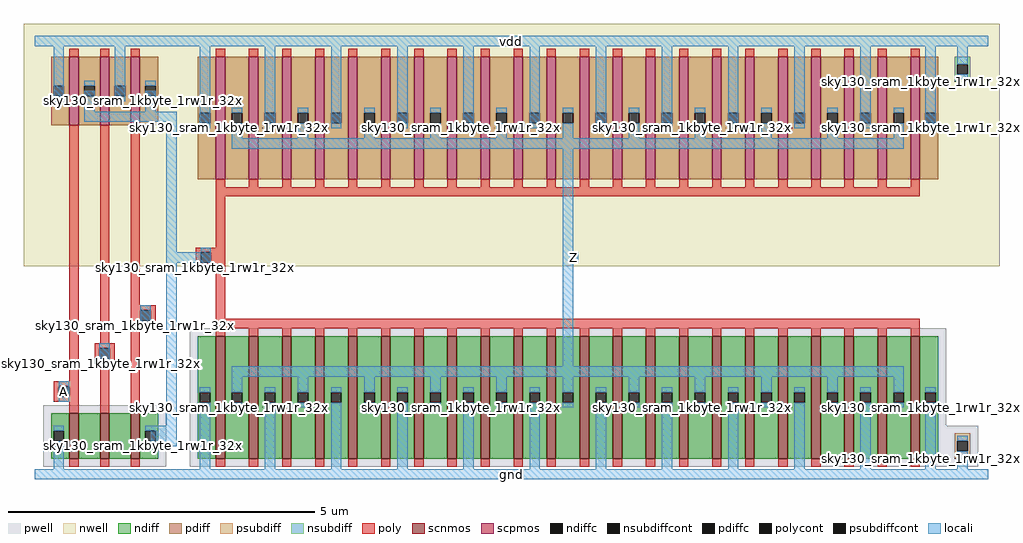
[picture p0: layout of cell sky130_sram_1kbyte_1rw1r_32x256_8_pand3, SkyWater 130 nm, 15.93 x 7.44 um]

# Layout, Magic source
magic
tech sky130A
magscale 1 2
<< locali >>
rect 0 1397 3114 1431
rect 430 724 464 1167
rect 430 690 559 724
rect 1741 690 1775 724
rect 345 485 379 551
rect 212 361 246 427
rect 79 237 113 303
rect 0 -17 3114 17
use sky130_sram_1kbyte_1rw1r_32x256_8_pdriver_3  sky130_sram_1kbyte_1rw1r_32x256_8_pdriver_3_0
transform 1 0 478 0 1 0
box -36 -17 2672 1471
use sky130_sram_1kbyte_1rw1r_32x256_8_pnand3  sky130_sram_1kbyte_1rw1r_32x256_8_pnand3_0
transform 1 0 0 0 1 0
box -36 -17 514 1471
<< labels >>
rlabel locali s 1758 707 1758 707 4 Z
port 1 nsew
rlabel locali s 96 270 96 270 4 A
port 2 nsew
rlabel locali s 229 394 229 394 4 B
port 3 nsew
rlabel locali s 362 518 362 518 4 C
port 4 nsew
rlabel locali s 1557 0 1557 0 4 gnd
port 5 nsew
rlabel locali s 1557 1414 1557 1414 4 vdd
port 6 nsew
<< properties >>
string FIXED_BBOX 0 0 3114 1414
string GDS_FILE $PDKPATH/libs.ref/sky130_sram_macros/gds/sky130_sram_1kbyte_1rw1r_32x256_8.gds
string GDS_END 6270182
string GDS_START 6268934
<< end >>

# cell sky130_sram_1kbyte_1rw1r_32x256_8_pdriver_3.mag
magic
tech sky130A
magscale 1 2
<< nwell >>
rect -36 679 2672 1471
<< locali >>
rect 0 1397 2636 1431
rect 64 674 98 740
rect 1263 690 1297 724
rect 0 -17 2636 17
use sky130_sram_1kbyte_1rw1r_32x256_8_pinv_15  sky130_sram_1kbyte_1rw1r_32x256_8_pinv_15_0
transform 1 0 0 0 1 0
box -36 -17 2672 1471
<< labels >>
rlabel locali s 1280 707 1280 707 4 Z
port 1 nsew
rlabel locali s 81 707 81 707 4 A
port 2 nsew
rlabel locali s 1318 0 1318 0 4 gnd
port 3 nsew
rlabel locali s 1318 1414 1318 1414 4 vdd
port 4 nsew
<< properties >>
string FIXED_BBOX 0 0 2636 1414
string GDS_FILE $PDKPATH/libs.ref/sky130_sram_macros/gds/sky130_sram_1kbyte_1rw1r_32x256_8.gds
string GDS_END 358828
string GDS_START 357996
<< end >>

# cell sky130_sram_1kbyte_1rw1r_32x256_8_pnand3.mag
magic
tech sky130A
magscale 1 2
<< nwell >>
rect -36 679 514 1471
<< pwell >>
rect 128 25 330 225
<< scnmos >>
rect 214 51 244 199
<< ndiff >>
rect 154 51 214 199
rect 244 51 304 199
<< poly >>
rect 114 303 144 1113
rect 214 427 244 1113
rect 314 551 344 1113
rect 314 535 395 551
rect 314 501 345 535
rect 379 501 395 535
rect 314 485 395 501
rect 196 411 262 427
rect 196 377 212 411
rect 246 377 262 411
rect 196 361 262 377
rect 63 287 144 303
rect 63 253 79 287
rect 113 253 144 287
rect 63 237 144 253
rect 114 225 144 237
rect 214 199 244 361
rect 314 225 344 485
rect 214 25 244 51
<< polycont >>
rect 345 501 379 535
rect 212 377 246 411
rect 79 253 113 287
<< locali >>
rect 0 1397 478 1431
rect 62 1218 96 1397
rect 162 1184 196 1251
rect 262 1218 296 1397
rect 362 1184 396 1251
rect 162 1150 464 1184
rect 345 535 379 551
rect 345 485 379 501
rect 212 411 246 427
rect 212 361 246 377
rect 79 287 113 303
rect 79 237 113 253
rect 430 158 464 1150
rect 379 92 464 158
rect 62 17 96 92
rect 0 -17 478 17
use sky130_sram_1kbyte_1rw1r_32x256_8_contact_16  sky130_sram_1kbyte_1rw1r_32x256_8_contact_16_0
transform 1 0 329 0 1 485
box 0 0 1 1
use sky130_sram_1kbyte_1rw1r_32x256_8_contact_16  sky130_sram_1kbyte_1rw1r_32x256_8_contact_16_1
transform 1 0 196 0 1 361
box 0 0 1 1
use sky130_sram_1kbyte_1rw1r_32x256_8_contact_16  sky130_sram_1kbyte_1rw1r_32x256_8_contact_16_2
transform 1 0 63 0 1 237
box 0 0 1 1
use sky130_sram_1kbyte_1rw1r_32x256_8_nmos_m1_w0_740_sactive_dli  sky130_sram_1kbyte_1rw1r_32x256_8_nmos_m1_w0_740_sactive_dli_0
transform 1 0 254 0 1 51
box -26 -26 176 174
use sky130_sram_1kbyte_1rw1r_32x256_8_nmos_m1_w0_740_sactive_dactive  sky130_sram_1kbyte_1rw1r_32x256_8_nmos_m1_w0_740_sactive_dactive_0
transform 1 0 154 0 1 51
box 25 74 125 75
use sky130_sram_1kbyte_1rw1r_32x256_8_nmos_m1_w0_740_sli_dactive  sky130_sram_1kbyte_1rw1r_32x256_8_nmos_m1_w0_740_sli_dactive_0
transform 1 0 54 0 1 51
box -26 -26 176 174
use sky130_sram_1kbyte_1rw1r_32x256_8_pmos_m1_w1_120_sli_dli  sky130_sram_1kbyte_1rw1r_32x256_8_pmos_m1_w1_120_sli_dli_0
transform 1 0 254 0 1 1139
box -59 -54 209 278
use sky130_sram_1kbyte_1rw1r_32x256_8_pmos_m1_w1_120_sli_dli  sky130_sram_1kbyte_1rw1r_32x256_8_pmos_m1_w1_120_sli_dli_1
transform 1 0 154 0 1 1139
box -59 -54 209 278
use sky130_sram_1kbyte_1rw1r_32x256_8_pmos_m1_w1_120_sli_dli  sky130_sram_1kbyte_1rw1r_32x256_8_pmos_m1_w1_120_sli_dli_2
transform 1 0 54 0 1 1139
box -59 -54 209 278
<< labels >>
rlabel locali s 96 270 96 270 4 A
port 1 nsew
rlabel locali s 229 394 229 394 4 B
port 2 nsew
rlabel locali s 362 518 362 518 4 C
port 3 nsew
rlabel locali s 447 1167 447 1167 4 Z
port 4 nsew
rlabel locali s 239 0 239 0 4 gnd
port 5 nsew
rlabel locali s 239 1414 239 1414 4 vdd
port 6 nsew
<< properties >>
string FIXED_BBOX 0 0 478 1414
string GDS_FILE $PDKPATH/libs.ref/sky130_sram_macros/gds/sky130_sram_1kbyte_1rw1r_32x256_8.gds
string GDS_END 361910
string GDS_START 358900
<< end >>

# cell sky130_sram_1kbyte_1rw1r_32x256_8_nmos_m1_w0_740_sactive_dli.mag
magic
tech sky130A
magscale 1 2
<< pwell >>
rect -26 -26 176 174
<< scnmos >>
rect 60 0 90 148
<< ndiff >>
rect 0 0 60 148
rect 90 91 150 148
rect 90 57 108 91
rect 142 57 150 91
rect 90 0 150 57
<< ndiffc >>
rect 108 57 142 91
<< poly >>
rect 60 148 90 174
rect 60 -26 90 0
<< locali >>
rect 108 91 142 107
rect 108 41 142 57
use sky130_sram_1kbyte_1rw1r_32x256_8_contact_11  sky130_sram_1kbyte_1rw1r_32x256_8_contact_11_0
transform 1 0 100 0 1 41
box 0 0 1 1
<< labels >>
rlabel locali s 125 74 125 74 4 D
port 1 nsew
rlabel poly s 75 74 75 74 4 G
port 2 nsew
rlabel mvpsubdiff s 25 74 25 74 4 S
<< properties >>
string FIXED_BBOX -25 -26 175 174
string GDS_FILE $PDKPATH/libs.ref/sky130_sram_macros/gds/sky130_sram_1kbyte_1rw1r_32x256_8.gds
string GDS_END 24370
string GDS_START 23648
<< end >>

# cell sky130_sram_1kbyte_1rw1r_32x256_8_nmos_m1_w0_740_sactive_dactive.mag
magic
tech sky130A
magscale 1 2
<< labels >>
rlabel poly s 75 74 75 74 4 G
port 1 nsew
rlabel mvpsubdiff s 25 74 25 74 4 S
rlabel mvpsubdiff s 125 74 125 74 4 D
<< properties >>
string GDS_FILE $PDKPATH/libs.ref/sky130_sram_macros/gds/sky130_sram_1kbyte_1rw1r_32x256_8.gds
string GDS_END 104682
string GDS_START 104034
<< end >>

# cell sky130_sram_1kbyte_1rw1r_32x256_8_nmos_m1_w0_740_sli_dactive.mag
magic
tech sky130A
magscale 1 2
<< pwell >>
rect -26 -26 176 174
<< scnmos >>
rect 60 0 90 148
<< ndiff >>
rect 0 91 60 148
rect 0 57 8 91
rect 42 57 60 91
rect 0 0 60 57
rect 90 0 150 148
<< ndiffc >>
rect 8 57 42 91
<< poly >>
rect 60 148 90 174
rect 60 -26 90 0
<< locali >>
rect 8 91 42 107
rect 8 41 42 57
use sky130_sram_1kbyte_1rw1r_32x256_8_contact_11  sky130_sram_1kbyte_1rw1r_32x256_8_contact_11_0
transform 1 0 0 0 1 41
box 0 0 1 1
<< labels >>
rlabel locali s 25 74 25 74 4 S
port 1 nsew
rlabel poly s 75 74 75 74 4 G
port 2 nsew
rlabel mvpsubdiff s 125 74 125 74 4 D
<< properties >>
string FIXED_BBOX -25 -26 175 174
string GDS_FILE $PDKPATH/libs.ref/sky130_sram_macros/gds/sky130_sram_1kbyte_1rw1r_32x256_8.gds
string GDS_END 25184
string GDS_START 24462
<< end >>

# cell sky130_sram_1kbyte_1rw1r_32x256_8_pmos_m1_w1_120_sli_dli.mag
magic
tech sky130A
magscale 1 2
<< nwell >>
rect -54 196 204 278
rect -59 28 209 196
rect -54 -54 204 28
<< scpmos >>
rect 60 0 90 224
<< pdiff >>
rect 0 129 60 224
rect 0 95 8 129
rect 42 95 60 129
rect 0 0 60 95
rect 90 129 150 224
rect 90 95 108 129
rect 142 95 150 129
rect 90 0 150 95
<< pdiffc >>
rect 8 95 42 129
rect 108 95 142 129
<< poly >>
rect 60 224 90 250
rect 60 -26 90 0
<< locali >>
rect 8 129 42 145
rect 8 79 42 95
rect 108 129 142 145
rect 108 79 142 95
use sky130_sram_1kbyte_1rw1r_32x256_8_contact_12  sky130_sram_1kbyte_1rw1r_32x256_8_contact_12_0
transform 1 0 100 0 1 79
box 0 0 1 1
use sky130_sram_1kbyte_1rw1r_32x256_8_contact_12  sky130_sram_1kbyte_1rw1r_32x256_8_contact_12_1
transform 1 0 0 0 1 79
box 0 0 1 1
<< labels >>
rlabel locali s 25 112 25 112 4 S
port 1 nsew
rlabel locali s 125 112 125 112 4 D
port 2 nsew
rlabel poly s 75 112 75 112 4 G
port 3 nsew
<< properties >>
string FIXED_BBOX -54 -54 204 28
string GDS_FILE $PDKPATH/libs.ref/sky130_sram_macros/gds/sky130_sram_1kbyte_1rw1r_32x256_8.gds
string GDS_END 26132
string GDS_START 25272
<< end >>

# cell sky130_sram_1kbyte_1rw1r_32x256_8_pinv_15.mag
magic
tech sky130A
magscale 1 2
<< nwell >>
rect -36 679 2672 1471
<< pwell >>
rect 2500 25 2602 159
<< psubdiff >>
rect 2526 109 2576 133
rect 2526 75 2534 109
rect 2568 75 2576 109
rect 2526 51 2576 75
<< nsubdiff >>
rect 2526 1339 2576 1363
rect 2526 1305 2534 1339
rect 2568 1305 2576 1339
rect 2526 1281 2576 1305
<< psubdiffcont >>
rect 2534 75 2568 109
<< nsubdiffcont >>
rect 2534 1305 2568 1339
<< poly >>
rect 114 740 144 907
rect 48 724 144 740
rect 48 690 64 724
rect 98 690 144 724
rect 48 674 144 690
rect 114 507 144 674
<< polycont >>
rect 64 690 98 724
<< locali >>
rect 0 1397 2636 1431
rect 62 1130 96 1397
rect 274 1130 308 1397
rect 490 1130 524 1397
rect 706 1130 740 1397
rect 922 1130 956 1397
rect 1138 1130 1172 1397
rect 1354 1130 1388 1397
rect 1570 1130 1604 1397
rect 1786 1130 1820 1397
rect 2002 1130 2036 1397
rect 2218 1130 2252 1397
rect 2430 1130 2464 1397
rect 2534 1339 2568 1397
rect 2534 1289 2568 1305
rect 64 724 98 740
rect 64 674 98 690
rect 1246 724 1280 1096
rect 1246 690 1297 724
rect 1246 318 1280 690
rect 62 17 96 218
rect 274 17 308 218
rect 490 17 524 218
rect 706 17 740 218
rect 922 17 956 218
rect 1138 17 1172 218
rect 1354 17 1388 218
rect 1570 17 1604 218
rect 1786 17 1820 218
rect 2002 17 2036 218
rect 2218 17 2252 218
rect 2430 17 2464 218
rect 2534 109 2568 125
rect 2534 17 2568 75
rect 0 -17 2636 17
use sky130_sram_1kbyte_1rw1r_32x256_8_contact_16  sky130_sram_1kbyte_1rw1r_32x256_8_contact_16_0
transform 1 0 48 0 1 674
box 0 0 1 1
use sky130_sram_1kbyte_1rw1r_32x256_8_contact_29  sky130_sram_1kbyte_1rw1r_32x256_8_contact_29_0
transform 1 0 2526 0 1 51
box 0 0 1 1
use sky130_sram_1kbyte_1rw1r_32x256_8_contact_28  sky130_sram_1kbyte_1rw1r_32x256_8_contact_28_0
transform 1 0 2526 0 1 1281
box 0 0 1 1
use sky130_sram_1kbyte_1rw1r_32x256_8_nmos_m22_w2_000_sli_dli_da_p  sky130_sram_1kbyte_1rw1r_32x256_8_nmos_m22_w2_000_sli_dli_da_p_0
transform 1 0 54 0 1 51
box -26 -26 2444 456
use sky130_sram_1kbyte_1rw1r_32x256_8_pmos_m22_w2_000_sli_dli_da_p  sky130_sram_1kbyte_1rw1r_32x256_8_pmos_m22_w2_000_sli_dli_da_p_0
transform 1 0 54 0 1 963
box -59 -56 2477 454
<< labels >>
rlabel locali s 81 707 81 707 4 A
port 1 nsew
rlabel locali s 1280 707 1280 707 4 Z
port 2 nsew
rlabel locali s 1318 0 1318 0 4 gnd
port 3 nsew
rlabel locali s 1318 1414 1318 1414 4 vdd
port 4 nsew
<< properties >>
string FIXED_BBOX 0 0 2636 1414
string GDS_FILE $PDKPATH/libs.ref/sky130_sram_macros/gds/sky130_sram_1kbyte_1rw1r_32x256_8.gds
string GDS_END 103938
string GDS_START 100660
<< end >>

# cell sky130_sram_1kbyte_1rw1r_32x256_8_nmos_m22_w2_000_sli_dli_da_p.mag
magic
tech sky130A
magscale 1 2
<< pwell >>
rect -26 -26 2444 426
<< scnmos >>
rect 60 0 90 400
rect 168 0 198 400
rect 276 0 306 400
rect 384 0 414 400
rect 492 0 522 400
rect 600 0 630 400
rect 708 0 738 400
rect 816 0 846 400
rect 924 0 954 400
rect 1032 0 1062 400
rect 1140 0 1170 400
rect 1248 0 1278 400
rect 1356 0 1386 400
rect 1464 0 1494 400
rect 1572 0 1602 400
rect 1680 0 1710 400
rect 1788 0 1818 400
rect 1896 0 1926 400
rect 2004 0 2034 400
rect 2112 0 2142 400
rect 2220 0 2250 400
rect 2328 0 2358 400
<< ndiff >>
rect 0 217 60 400
rect 0 183 8 217
rect 42 183 60 217
rect 0 0 60 183
rect 90 217 168 400
rect 90 183 112 217
rect 146 183 168 217
rect 90 0 168 183
rect 198 217 276 400
rect 198 183 220 217
rect 254 183 276 217
rect 198 0 276 183
rect 306 217 384 400
rect 306 183 328 217
rect 362 183 384 217
rect 306 0 384 183
rect 414 217 492 400
rect 414 183 436 217
rect 470 183 492 217
rect 414 0 492 183
rect 522 217 600 400
rect 522 183 544 217
rect 578 183 600 217
rect 522 0 600 183
rect 630 217 708 400
rect 630 183 652 217
rect 686 183 708 217
rect 630 0 708 183
rect 738 217 816 400
rect 738 183 760 217
rect 794 183 816 217
rect 738 0 816 183
rect 846 217 924 400
rect 846 183 868 217
rect 902 183 924 217
rect 846 0 924 183
rect 954 217 1032 400
rect 954 183 976 217
rect 1010 183 1032 217
rect 954 0 1032 183
rect 1062 217 1140 400
rect 1062 183 1084 217
rect 1118 183 1140 217
rect 1062 0 1140 183
rect 1170 217 1248 400
rect 1170 183 1192 217
rect 1226 183 1248 217
rect 1170 0 1248 183
rect 1278 217 1356 400
rect 1278 183 1300 217
rect 1334 183 1356 217
rect 1278 0 1356 183
rect 1386 217 1464 400
rect 1386 183 1408 217
rect 1442 183 1464 217
rect 1386 0 1464 183
rect 1494 217 1572 400
rect 1494 183 1516 217
rect 1550 183 1572 217
rect 1494 0 1572 183
rect 1602 217 1680 400
rect 1602 183 1624 217
rect 1658 183 1680 217
rect 1602 0 1680 183
rect 1710 217 1788 400
rect 1710 183 1732 217
rect 1766 183 1788 217
rect 1710 0 1788 183
rect 1818 217 1896 400
rect 1818 183 1840 217
rect 1874 183 1896 217
rect 1818 0 1896 183
rect 1926 217 2004 400
rect 1926 183 1948 217
rect 1982 183 2004 217
rect 1926 0 2004 183
rect 2034 217 2112 400
rect 2034 183 2056 217
rect 2090 183 2112 217
rect 2034 0 2112 183
rect 2142 217 2220 400
rect 2142 183 2164 217
rect 2198 183 2220 217
rect 2142 0 2220 183
rect 2250 217 2328 400
rect 2250 183 2272 217
rect 2306 183 2328 217
rect 2250 0 2328 183
rect 2358 217 2418 400
rect 2358 183 2376 217
rect 2410 183 2418 217
rect 2358 0 2418 183
<< ndiffc >>
rect 8 183 42 217
rect 112 183 146 217
rect 220 183 254 217
rect 328 183 362 217
rect 436 183 470 217
rect 544 183 578 217
rect 652 183 686 217
rect 760 183 794 217
rect 868 183 902 217
rect 976 183 1010 217
rect 1084 183 1118 217
rect 1192 183 1226 217
rect 1300 183 1334 217
rect 1408 183 1442 217
rect 1516 183 1550 217
rect 1624 183 1658 217
rect 1732 183 1766 217
rect 1840 183 1874 217
rect 1948 183 1982 217
rect 2056 183 2090 217
rect 2164 183 2198 217
rect 2272 183 2306 217
rect 2376 183 2410 217
<< poly >>
rect 60 426 2358 456
rect 60 400 90 426
rect 168 400 198 426
rect 276 400 306 426
rect 384 400 414 426
rect 492 400 522 426
rect 600 400 630 426
rect 708 400 738 426
rect 816 400 846 426
rect 924 400 954 426
rect 1032 400 1062 426
rect 1140 400 1170 426
rect 1248 400 1278 426
rect 1356 400 1386 426
rect 1464 400 1494 426
rect 1572 400 1602 426
rect 1680 400 1710 426
rect 1788 400 1818 426
rect 1896 400 1926 426
rect 2004 400 2034 426
rect 2112 400 2142 426
rect 2220 400 2250 426
rect 2328 400 2358 426
rect 60 -26 90 0
rect 168 -26 198 0
rect 276 -26 306 0
rect 384 -26 414 0
rect 492 -26 522 0
rect 600 -26 630 0
rect 708 -26 738 0
rect 816 -26 846 0
rect 924 -26 954 0
rect 1032 -26 1062 0
rect 1140 -26 1170 0
rect 1248 -26 1278 0
rect 1356 -26 1386 0
rect 1464 -26 1494 0
rect 1572 -26 1602 0
rect 1680 -26 1710 0
rect 1788 -26 1818 0
rect 1896 -26 1926 0
rect 2004 -26 2034 0
rect 2112 -26 2142 0
rect 2220 -26 2250 0
rect 2328 -26 2358 0
<< locali >>
rect 112 267 2306 301
rect 8 217 42 233
rect 8 167 42 183
rect 112 217 146 267
rect 112 167 146 183
rect 220 217 254 233
rect 220 167 254 183
rect 328 217 362 267
rect 328 167 362 183
rect 436 217 470 233
rect 436 167 470 183
rect 544 217 578 267
rect 544 167 578 183
rect 652 217 686 233
rect 652 167 686 183
rect 760 217 794 267
rect 760 167 794 183
rect 868 217 902 233
rect 868 167 902 183
rect 976 217 1010 267
rect 976 167 1010 183
rect 1084 217 1118 233
rect 1084 167 1118 183
rect 1192 217 1226 267
rect 1192 167 1226 183
rect 1300 217 1334 233
rect 1300 167 1334 183
rect 1408 217 1442 267
rect 1408 167 1442 183
rect 1516 217 1550 233
rect 1516 167 1550 183
rect 1624 217 1658 267
rect 1624 167 1658 183
rect 1732 217 1766 233
rect 1732 167 1766 183
rect 1840 217 1874 267
rect 1840 167 1874 183
rect 1948 217 1982 233
rect 1948 167 1982 183
rect 2056 217 2090 267
rect 2056 167 2090 183
rect 2164 217 2198 233
rect 2164 167 2198 183
rect 2272 217 2306 267
rect 2272 167 2306 183
rect 2376 217 2410 233
rect 2376 167 2410 183
use sky130_sram_1kbyte_1rw1r_32x256_8_contact_11  sky130_sram_1kbyte_1rw1r_32x256_8_contact_11_0
transform 1 0 2368 0 1 167
box 0 0 1 1
use sky130_sram_1kbyte_1rw1r_32x256_8_contact_11  sky130_sram_1kbyte_1rw1r_32x256_8_contact_11_1
transform 1 0 2264 0 1 167
box 0 0 1 1
use sky130_sram_1kbyte_1rw1r_32x256_8_contact_11  sky130_sram_1kbyte_1rw1r_32x256_8_contact_11_2
transform 1 0 2156 0 1 167
box 0 0 1 1
use sky130_sram_1kbyte_1rw1r_32x256_8_contact_11  sky130_sram_1kbyte_1rw1r_32x256_8_contact_11_3
transform 1 0 2048 0 1 167
box 0 0 1 1
use sky130_sram_1kbyte_1rw1r_32x256_8_contact_11  sky130_sram_1kbyte_1rw1r_32x256_8_contact_11_4
transform 1 0 1940 0 1 167
box 0 0 1 1
use sky130_sram_1kbyte_1rw1r_32x256_8_contact_11  sky130_sram_1kbyte_1rw1r_32x256_8_contact_11_5
transform 1 0 1832 0 1 167
box 0 0 1 1
use sky130_sram_1kbyte_1rw1r_32x256_8_contact_11  sky130_sram_1kbyte_1rw1r_32x256_8_contact_11_6
transform 1 0 1724 0 1 167
box 0 0 1 1
use sky130_sram_1kbyte_1rw1r_32x256_8_contact_11  sky130_sram_1kbyte_1rw1r_32x256_8_contact_11_7
transform 1 0 1616 0 1 167
box 0 0 1 1
use sky130_sram_1kbyte_1rw1r_32x256_8_contact_11  sky130_sram_1kbyte_1rw1r_32x256_8_contact_11_8
transform 1 0 1508 0 1 167
box 0 0 1 1
use sky130_sram_1kbyte_1rw1r_32x256_8_contact_11  sky130_sram_1kbyte_1rw1r_32x256_8_contact_11_9
transform 1 0 1400 0 1 167
box 0 0 1 1
use sky130_sram_1kbyte_1rw1r_32x256_8_contact_11  sky130_sram_1kbyte_1rw1r_32x256_8_contact_11_10
transform 1 0 1292 0 1 167
box 0 0 1 1
use sky130_sram_1kbyte_1rw1r_32x256_8_contact_11  sky130_sram_1kbyte_1rw1r_32x256_8_contact_11_11
transform 1 0 1184 0 1 167
box 0 0 1 1
use sky130_sram_1kbyte_1rw1r_32x256_8_contact_11  sky130_sram_1kbyte_1rw1r_32x256_8_contact_11_12
transform 1 0 1076 0 1 167
box 0 0 1 1
use sky130_sram_1kbyte_1rw1r_32x256_8_contact_11  sky130_sram_1kbyte_1rw1r_32x256_8_contact_11_13
transform 1 0 968 0 1 167
box 0 0 1 1
use sky130_sram_1kbyte_1rw1r_32x256_8_contact_11  sky130_sram_1kbyte_1rw1r_32x256_8_contact_11_14
transform 1 0 860 0 1 167
box 0 0 1 1
use sky130_sram_1kbyte_1rw1r_32x256_8_contact_11  sky130_sram_1kbyte_1rw1r_32x256_8_contact_11_15
transform 1 0 752 0 1 167
box 0 0 1 1
use sky130_sram_1kbyte_1rw1r_32x256_8_contact_11  sky130_sram_1kbyte_1rw1r_32x256_8_contact_11_16
transform 1 0 644 0 1 167
box 0 0 1 1
use sky130_sram_1kbyte_1rw1r_32x256_8_contact_11  sky130_sram_1kbyte_1rw1r_32x256_8_contact_11_17
transform 1 0 536 0 1 167
box 0 0 1 1
use sky130_sram_1kbyte_1rw1r_32x256_8_contact_11  sky130_sram_1kbyte_1rw1r_32x256_8_contact_11_18
transform 1 0 428 0 1 167
box 0 0 1 1
use sky130_sram_1kbyte_1rw1r_32x256_8_contact_11  sky130_sram_1kbyte_1rw1r_32x256_8_contact_11_19
transform 1 0 320 0 1 167
box 0 0 1 1
use sky130_sram_1kbyte_1rw1r_32x256_8_contact_11  sky130_sram_1kbyte_1rw1r_32x256_8_contact_11_20
transform 1 0 212 0 1 167
box 0 0 1 1
use sky130_sram_1kbyte_1rw1r_32x256_8_contact_11  sky130_sram_1kbyte_1rw1r_32x256_8_contact_11_21
transform 1 0 104 0 1 167
box 0 0 1 1
use sky130_sram_1kbyte_1rw1r_32x256_8_contact_11  sky130_sram_1kbyte_1rw1r_32x256_8_contact_11_22
transform 1 0 0 0 1 167
box 0 0 1 1
<< labels >>
rlabel locali s 1749 200 1749 200 4 S
port 1 nsew
rlabel locali s 2181 200 2181 200 4 S
port 1 nsew
rlabel locali s 1965 200 1965 200 4 S
port 1 nsew
rlabel locali s 2393 200 2393 200 4 S
port 1 nsew
rlabel locali s 453 200 453 200 4 S
port 1 nsew
rlabel locali s 1101 200 1101 200 4 S
port 1 nsew
rlabel locali s 1533 200 1533 200 4 S
port 1 nsew
rlabel locali s 669 200 669 200 4 S
port 1 nsew
rlabel locali s 25 200 25 200 4 S
port 1 nsew
rlabel locali s 885 200 885 200 4 S
port 1 nsew
rlabel locali s 1317 200 1317 200 4 S
port 1 nsew
rlabel locali s 237 200 237 200 4 S
port 1 nsew
rlabel locali s 1209 284 1209 284 4 D
port 2 nsew
rlabel poly s 1209 441 1209 441 4 G
port 3 nsew
<< properties >>
string FIXED_BBOX -25 -26 2443 456
string GDS_FILE $PDKPATH/libs.ref/sky130_sram_macros/gds/sky130_sram_1kbyte_1rw1r_32x256_8.gds
string GDS_END 41444
string GDS_START 35858
<< end >>

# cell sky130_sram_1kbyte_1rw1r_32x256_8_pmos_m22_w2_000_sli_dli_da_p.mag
magic
tech sky130A
magscale 1 2
<< nwell >>
rect -54 284 2472 454
rect -59 116 2477 284
rect -54 -54 2472 116
<< scpmos >>
rect 60 0 90 400
rect 168 0 198 400
rect 276 0 306 400
rect 384 0 414 400
rect 492 0 522 400
rect 600 0 630 400
rect 708 0 738 400
rect 816 0 846 400
rect 924 0 954 400
rect 1032 0 1062 400
rect 1140 0 1170 400
rect 1248 0 1278 400
rect 1356 0 1386 400
rect 1464 0 1494 400
rect 1572 0 1602 400
rect 1680 0 1710 400
rect 1788 0 1818 400
rect 1896 0 1926 400
rect 2004 0 2034 400
rect 2112 0 2142 400
rect 2220 0 2250 400
rect 2328 0 2358 400
<< pdiff >>
rect 0 217 60 400
rect 0 183 8 217
rect 42 183 60 217
rect 0 0 60 183
rect 90 217 168 400
rect 90 183 112 217
rect 146 183 168 217
rect 90 0 168 183
rect 198 217 276 400
rect 198 183 220 217
rect 254 183 276 217
rect 198 0 276 183
rect 306 217 384 400
rect 306 183 328 217
rect 362 183 384 217
rect 306 0 384 183
rect 414 217 492 400
rect 414 183 436 217
rect 470 183 492 217
rect 414 0 492 183
rect 522 217 600 400
rect 522 183 544 217
rect 578 183 600 217
rect 522 0 600 183
rect 630 217 708 400
rect 630 183 652 217
rect 686 183 708 217
rect 630 0 708 183
rect 738 217 816 400
rect 738 183 760 217
rect 794 183 816 217
rect 738 0 816 183
rect 846 217 924 400
rect 846 183 868 217
rect 902 183 924 217
rect 846 0 924 183
rect 954 217 1032 400
rect 954 183 976 217
rect 1010 183 1032 217
rect 954 0 1032 183
rect 1062 217 1140 400
rect 1062 183 1084 217
rect 1118 183 1140 217
rect 1062 0 1140 183
rect 1170 217 1248 400
rect 1170 183 1192 217
rect 1226 183 1248 217
rect 1170 0 1248 183
rect 1278 217 1356 400
rect 1278 183 1300 217
rect 1334 183 1356 217
rect 1278 0 1356 183
rect 1386 217 1464 400
rect 1386 183 1408 217
rect 1442 183 1464 217
rect 1386 0 1464 183
rect 1494 217 1572 400
rect 1494 183 1516 217
rect 1550 183 1572 217
rect 1494 0 1572 183
rect 1602 217 1680 400
rect 1602 183 1624 217
rect 1658 183 1680 217
rect 1602 0 1680 183
rect 1710 217 1788 400
rect 1710 183 1732 217
rect 1766 183 1788 217
rect 1710 0 1788 183
rect 1818 217 1896 400
rect 1818 183 1840 217
rect 1874 183 1896 217
rect 1818 0 1896 183
rect 1926 217 2004 400
rect 1926 183 1948 217
rect 1982 183 2004 217
rect 1926 0 2004 183
rect 2034 217 2112 400
rect 2034 183 2056 217
rect 2090 183 2112 217
rect 2034 0 2112 183
rect 2142 217 2220 400
rect 2142 183 2164 217
rect 2198 183 2220 217
rect 2142 0 2220 183
rect 2250 217 2328 400
rect 2250 183 2272 217
rect 2306 183 2328 217
rect 2250 0 2328 183
rect 2358 217 2418 400
rect 2358 183 2376 217
rect 2410 183 2418 217
rect 2358 0 2418 183
<< pdiffc >>
rect 8 183 42 217
rect 112 183 146 217
rect 220 183 254 217
rect 328 183 362 217
rect 436 183 470 217
rect 544 183 578 217
rect 652 183 686 217
rect 760 183 794 217
rect 868 183 902 217
rect 976 183 1010 217
rect 1084 183 1118 217
rect 1192 183 1226 217
rect 1300 183 1334 217
rect 1408 183 1442 217
rect 1516 183 1550 217
rect 1624 183 1658 217
rect 1732 183 1766 217
rect 1840 183 1874 217
rect 1948 183 1982 217
rect 2056 183 2090 217
rect 2164 183 2198 217
rect 2272 183 2306 217
rect 2376 183 2410 217
<< poly >>
rect 60 400 90 426
rect 168 400 198 426
rect 276 400 306 426
rect 384 400 414 426
rect 492 400 522 426
rect 600 400 630 426
rect 708 400 738 426
rect 816 400 846 426
rect 924 400 954 426
rect 1032 400 1062 426
rect 1140 400 1170 426
rect 1248 400 1278 426
rect 1356 400 1386 426
rect 1464 400 1494 426
rect 1572 400 1602 426
rect 1680 400 1710 426
rect 1788 400 1818 426
rect 1896 400 1926 426
rect 2004 400 2034 426
rect 2112 400 2142 426
rect 2220 400 2250 426
rect 2328 400 2358 426
rect 60 -26 90 0
rect 168 -26 198 0
rect 276 -26 306 0
rect 384 -26 414 0
rect 492 -26 522 0
rect 600 -26 630 0
rect 708 -26 738 0
rect 816 -26 846 0
rect 924 -26 954 0
rect 1032 -26 1062 0
rect 1140 -26 1170 0
rect 1248 -26 1278 0
rect 1356 -26 1386 0
rect 1464 -26 1494 0
rect 1572 -26 1602 0
rect 1680 -26 1710 0
rect 1788 -26 1818 0
rect 1896 -26 1926 0
rect 2004 -26 2034 0
rect 2112 -26 2142 0
rect 2220 -26 2250 0
rect 2328 -26 2358 0
rect 60 -56 2358 -26
<< locali >>
rect 8 217 42 233
rect 8 167 42 183
rect 112 217 146 233
rect 112 133 146 183
rect 220 217 254 233
rect 220 167 254 183
rect 328 217 362 233
rect 328 133 362 183
rect 436 217 470 233
rect 436 167 470 183
rect 544 217 578 233
rect 544 133 578 183
rect 652 217 686 233
rect 652 167 686 183
rect 760 217 794 233
rect 760 133 794 183
rect 868 217 902 233
rect 868 167 902 183
rect 976 217 1010 233
rect 976 133 1010 183
rect 1084 217 1118 233
rect 1084 167 1118 183
rect 1192 217 1226 233
rect 1192 133 1226 183
rect 1300 217 1334 233
rect 1300 167 1334 183
rect 1408 217 1442 233
rect 1408 133 1442 183
rect 1516 217 1550 233
rect 1516 167 1550 183
rect 1624 217 1658 233
rect 1624 133 1658 183
rect 1732 217 1766 233
rect 1732 167 1766 183
rect 1840 217 1874 233
rect 1840 133 1874 183
rect 1948 217 1982 233
rect 1948 167 1982 183
rect 2056 217 2090 233
rect 2056 133 2090 183
rect 2164 217 2198 233
rect 2164 167 2198 183
rect 2272 217 2306 233
rect 2272 133 2306 183
rect 2376 217 2410 233
rect 2376 167 2410 183
rect 112 99 2306 133
use sky130_sram_1kbyte_1rw1r_32x256_8_contact_12  sky130_sram_1kbyte_1rw1r_32x256_8_contact_12_0
transform 1 0 2368 0 1 167
box 0 0 1 1
use sky130_sram_1kbyte_1rw1r_32x256_8_contact_12  sky130_sram_1kbyte_1rw1r_32x256_8_contact_12_1
transform 1 0 2264 0 1 167
box 0 0 1 1
use sky130_sram_1kbyte_1rw1r_32x256_8_contact_12  sky130_sram_1kbyte_1rw1r_32x256_8_contact_12_2
transform 1 0 2156 0 1 167
box 0 0 1 1
use sky130_sram_1kbyte_1rw1r_32x256_8_contact_12  sky130_sram_1kbyte_1rw1r_32x256_8_contact_12_3
transform 1 0 2048 0 1 167
box 0 0 1 1
use sky130_sram_1kbyte_1rw1r_32x256_8_contact_12  sky130_sram_1kbyte_1rw1r_32x256_8_contact_12_4
transform 1 0 1940 0 1 167
box 0 0 1 1
use sky130_sram_1kbyte_1rw1r_32x256_8_contact_12  sky130_sram_1kbyte_1rw1r_32x256_8_contact_12_5
transform 1 0 1832 0 1 167
box 0 0 1 1
use sky130_sram_1kbyte_1rw1r_32x256_8_contact_12  sky130_sram_1kbyte_1rw1r_32x256_8_contact_12_6
transform 1 0 1724 0 1 167
box 0 0 1 1
use sky130_sram_1kbyte_1rw1r_32x256_8_contact_12  sky130_sram_1kbyte_1rw1r_32x256_8_contact_12_7
transform 1 0 1616 0 1 167
box 0 0 1 1
use sky130_sram_1kbyte_1rw1r_32x256_8_contact_12  sky130_sram_1kbyte_1rw1r_32x256_8_contact_12_8
transform 1 0 1508 0 1 167
box 0 0 1 1
use sky130_sram_1kbyte_1rw1r_32x256_8_contact_12  sky130_sram_1kbyte_1rw1r_32x256_8_contact_12_9
transform 1 0 1400 0 1 167
box 0 0 1 1
use sky130_sram_1kbyte_1rw1r_32x256_8_contact_12  sky130_sram_1kbyte_1rw1r_32x256_8_contact_12_10
transform 1 0 1292 0 1 167
box 0 0 1 1
use sky130_sram_1kbyte_1rw1r_32x256_8_contact_12  sky130_sram_1kbyte_1rw1r_32x256_8_contact_12_11
transform 1 0 1184 0 1 167
box 0 0 1 1
use sky130_sram_1kbyte_1rw1r_32x256_8_contact_12  sky130_sram_1kbyte_1rw1r_32x256_8_contact_12_12
transform 1 0 1076 0 1 167
box 0 0 1 1
use sky130_sram_1kbyte_1rw1r_32x256_8_contact_12  sky130_sram_1kbyte_1rw1r_32x256_8_contact_12_13
transform 1 0 968 0 1 167
box 0 0 1 1
use sky130_sram_1kbyte_1rw1r_32x256_8_contact_12  sky130_sram_1kbyte_1rw1r_32x256_8_contact_12_14
transform 1 0 860 0 1 167
box 0 0 1 1
use sky130_sram_1kbyte_1rw1r_32x256_8_contact_12  sky130_sram_1kbyte_1rw1r_32x256_8_contact_12_15
transform 1 0 752 0 1 167
box 0 0 1 1
use sky130_sram_1kbyte_1rw1r_32x256_8_contact_12  sky130_sram_1kbyte_1rw1r_32x256_8_contact_12_16
transform 1 0 644 0 1 167
box 0 0 1 1
use sky130_sram_1kbyte_1rw1r_32x256_8_contact_12  sky130_sram_1kbyte_1rw1r_32x256_8_contact_12_17
transform 1 0 536 0 1 167
box 0 0 1 1
use sky130_sram_1kbyte_1rw1r_32x256_8_contact_12  sky130_sram_1kbyte_1rw1r_32x256_8_contact_12_18
transform 1 0 428 0 1 167
box 0 0 1 1
use sky130_sram_1kbyte_1rw1r_32x256_8_contact_12  sky130_sram_1kbyte_1rw1r_32x256_8_contact_12_19
transform 1 0 320 0 1 167
box 0 0 1 1
use sky130_sram_1kbyte_1rw1r_32x256_8_contact_12  sky130_sram_1kbyte_1rw1r_32x256_8_contact_12_20
transform 1 0 212 0 1 167
box 0 0 1 1
use sky130_sram_1kbyte_1rw1r_32x256_8_contact_12  sky130_sram_1kbyte_1rw1r_32x256_8_contact_12_21
transform 1 0 104 0 1 167
box 0 0 1 1
use sky130_sram_1kbyte_1rw1r_32x256_8_contact_12  sky130_sram_1kbyte_1rw1r_32x256_8_contact_12_22
transform 1 0 0 0 1 167
box 0 0 1 1
<< labels >>
rlabel locali s 1749 200 1749 200 4 S
port 1 nsew
rlabel locali s 2181 200 2181 200 4 S
port 1 nsew
rlabel locali s 1965 200 1965 200 4 S
port 1 nsew
rlabel locali s 2393 200 2393 200 4 S
port 1 nsew
rlabel locali s 453 200 453 200 4 S
port 1 nsew
rlabel locali s 1101 200 1101 200 4 S
port 1 nsew
rlabel locali s 1533 200 1533 200 4 S
port 1 nsew
rlabel locali s 669 200 669 200 4 S
port 1 nsew
rlabel locali s 25 200 25 200 4 S
port 1 nsew
rlabel locali s 885 200 885 200 4 S
port 1 nsew
rlabel locali s 1317 200 1317 200 4 S
port 1 nsew
rlabel locali s 237 200 237 200 4 S
port 1 nsew
rlabel locali s 1209 116 1209 116 4 D
port 2 nsew
rlabel poly s 1209 -41 1209 -41 4 G
port 3 nsew
<< properties >>
string FIXED_BBOX -54 -56 2472 116
string GDS_FILE $PDKPATH/libs.ref/sky130_sram_macros/gds/sky130_sram_1kbyte_1rw1r_32x256_8.gds
string GDS_END 47188
string GDS_START 41538
<< end >>
